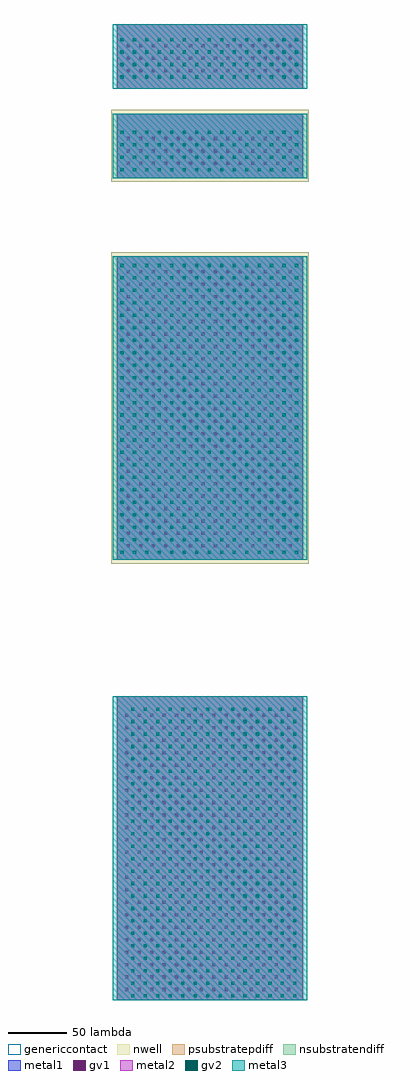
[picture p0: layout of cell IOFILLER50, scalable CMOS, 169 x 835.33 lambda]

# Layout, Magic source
magic
tech scmos
magscale 1 6
<< nwell >>
rect -7 4201 1007 4571
rect -7 2241 1007 3839
<< psubstratepdiff >>
rect 20 4680 980 5012
rect 20 0 980 1560
<< nsubstratendiff >>
rect 20 4220 980 4552
rect 20 2260 980 3820
<< metal1 >>
rect 24 4680 976 5012
rect 24 4220 976 4552
rect 24 2260 976 3820
rect 24 0 976 1560
<< metal2 >>
rect 24 4680 976 5012
rect 24 4220 976 4552
rect 24 2260 976 3820
rect 24 0 976 1560
<< metal3 >>
rect 0 4680 1000 5012
rect 0 4220 1000 4552
rect 0 2260 1000 3820
rect 0 0 1000 1560
use CONT  CONT_0
array 0 13 64 0 23 64
transform 1 0 104 0 1 22
box -6 -6 6 6
use CONT  CONT_1
array 0 14 64 0 23 64
transform 1 0 48 0 1 2300
box -6 -6 6 6
use CONT  CONT_2
array 0 14 64 0 3 64
transform 1 0 48 0 1 4264
box -6 -6 6 6
use CONT  CONT_3
array 0 14 64 0 3 64
transform 1 0 48 0 1 4740
box -6 -6 6 6
use VIA1  VIA1_0
array 0 13 64 0 22 64
transform 1 0 80 0 1 2332
box -8 -8 8 8
use VIA1  VIA1_1
array 0 13 64 0 22 64
transform 1 0 72 0 1 54
box -8 -8 8 8
use VIA1  VIA1_2
array 0 13 64 0 2 64
transform 1 0 80 0 1 4296
box -8 -8 8 8
use VIA1  VIA1_3
array 0 13 64 0 2 64
transform 1 0 80 0 1 4772
box -8 -8 8 8
use VIA2  VIA2_0
array 0 13 64 0 23 64
transform 1 0 104 0 1 22
box -8 -8 8 8
use VIA2  VIA2_1
array 0 14 64 0 23 64
transform 1 0 48 0 1 2300
box -8 -8 8 8
use VIA2  VIA2_2
array 0 14 64 0 3 64
transform 1 0 48 0 1 4264
box -8 -8 8 8
use VIA2  VIA2_3
array 0 14 64 0 3 64
transform 1 0 48 0 1 4740
box -8 -8 8 8
<< end >>

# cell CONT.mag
magic
tech scmos
<< genericcontact >>
rect -1 -1 1 1
<< end >>

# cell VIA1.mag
magic
tech scmos
magscale 1 3
<< gv1 >>
rect -4 -4 4 4
<< end >>

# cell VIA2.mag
magic
tech scmos
magscale 1 3
<< gv2 >>
rect -4 -4 4 4
<< end >>
